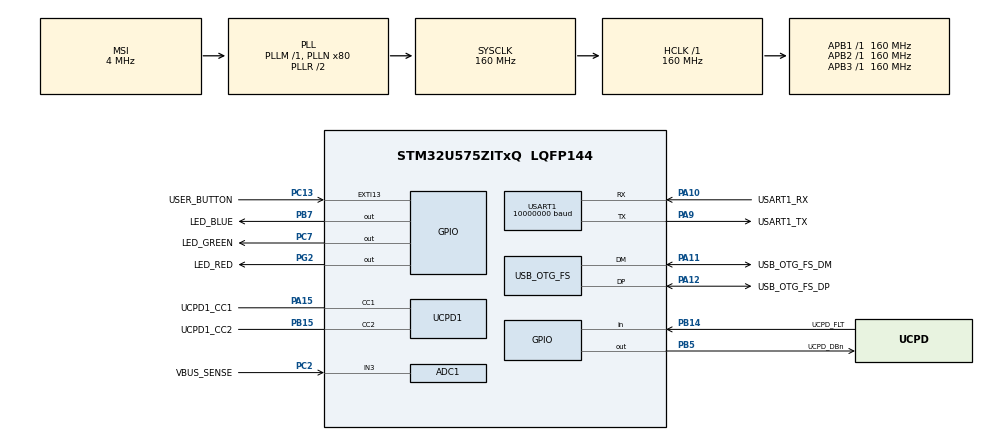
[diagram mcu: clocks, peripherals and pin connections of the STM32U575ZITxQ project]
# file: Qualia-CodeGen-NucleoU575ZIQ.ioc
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ADC1.NbrOfConversion=1
ADC1.Resolution=ADC_RESOLUTION_14B
ADC1.master=1
CORTEX_M33_NS.userName=CORTEX_M33
GPDMA1.DESTINC_GPDMACH12=DMA_DINC_INCREMENTED
GPDMA1.IPHANDLE_GPDMACH12-SIMPLEREQUEST_GPDMACH12=__NULL
GPDMA1.REQUEST_GPDMACH12=GPDMA1_REQUEST_USART1_RX
GPDMA1.SRCINC_GPDMACH12=DMA_SINC_FIXED
GPDMA1.TRIGGERPOLARITY_GPDMACH12=DMA_TRIG_POLARITY_MASKED
Mcu.Family=STM32U5
Mcu.Name=STM32U575ZITxQ
Mcu.Package=LQFP144
NVIC.GPDMA1_Channel12_IRQn=true\:0\:0\:false\:false\:true\:false\:true\:true
NVIC.OTG_FS_IRQn=true\:0\:0\:false\:false\:true\:true\:true\:true
NVIC.PriorityGroup=NVIC_PRIORITYGROUP_3
NVIC.USART1_IRQn=true\:0\:0\:false\:false\:true\:true\:true\:true
PA10.GPIO_Label=USART1_RX
PA10.GPIO_PuPd=GPIO_PULLDOWN
PA10.GPIO_Speed=GPIO_SPEED_FREQ_VERY_HIGH
PA10.Mode=Asynchronous
PA10.Signal=USART1_RX
PA11.GPIO_Label=USB_OTG_FS_DM
PA11.GPIO_Speed=GPIO_SPEED_FREQ_VERY_HIGH
PA11.Mode=Device_Only
PA11.Signal=USB_OTG_FS_DM
PA12.GPIO_Label=USB_OTG_FS_DP
PA12.GPIO_Speed=GPIO_SPEED_FREQ_VERY_HIGH
PA12.Mode=Device_Only
PA12.Signal=USB_OTG_FS_DP
PA13\ (JTMS/SWDIO).Mode=Trace_Asynchronous_SW
PA13\ (JTMS/SWDIO).Signal=DEBUG_JTMS-SWDIO
PA14\ (JTCK/SWCLK).Mode=Trace_Asynchronous_SW
PA14\ (JTCK/SWCLK).Signal=DEBUG_JTCK-SWCLK
PA15\ (JTDI).GPIO_Label=UCPD1_CC1
PA15\ (JTDI).Mode=Sink_AllSignals
PA15\ (JTDI).Signal=UCPD1_CC1
PA9.GPIO_Label=USART1_TX
PA9.GPIO_PuPd=GPIO_PULLDOWN
PA9.GPIO_Speed=GPIO_SPEED_FREQ_VERY_HIGH
PA9.Mode=Asynchronous
PA9.Signal=USART1_TX
PB14.GPIO_Label=UCPD_FLT
PB14.Signal=GPIO_Input
PB15.GPIO_Label=UCPD1_CC2
PB15.Mode=Sink_AllSignals
PB15.Signal=UCPD1_CC2
PB3\ (JTDO/TRACESWO).Mode=Trace_Asynchronous_SW
PB3\ (JTDO/TRACESWO).Signal=DEBUG_JTDO-SWO
PB5.GPIO_Label=UCPD_DBn
PB5.Signal=GPIO_Output
PB7.GPIO_Label=LED_BLUE
PB7.GPIO_ModeDefaultOutputPP=GPIO_MODE_OUTPUT_PP
PB7.GPIO_PuPd=GPIO_PULLUP
PB7.GPIO_Speed=GPIO_SPEED_FREQ_HIGH
PB7.Signal=GPIO_Output
PC13.GPIO_Label=USER_BUTTON
PC13.GPIO_ModeDefaultEXTI=GPIO_MODE_IT_FALLING
PC13.Signal=GPXTI13
PC14-OSC32_IN\ (PC14).Mode=LSE-External-Oscillator
PC14-OSC32_IN\ (PC14).Signal=RCC_OSC32_IN
PC15-OSC32_OUT\ (PC15).Mode=LSE-External-Oscillator
PC15-OSC32_OUT\ (PC15).Signal=RCC_OSC32_OUT
PC2.GPIO_Label=VBUS_SENSE
PC2.Mode=IN3-Single-Ended
PC2.Signal=ADC1_IN3
PC7.GPIO_Label=LED_GREEN
PC7.GPIO_PuPd=GPIO_PULLUP
PC7.GPIO_Speed=GPIO_SPEED_FREQ_HIGH
PC7.Signal=GPIO_Output
PG2.GPIO_Label=LED_RED
PG2.GPIO_ModeDefaultOutputPP=GPIO_MODE_OUTPUT_PP
PG2.GPIO_PuPd=GPIO_PULLUP
PG2.GPIO_Speed=GPIO_SPEED_FREQ_HIGH
PG2.Signal=GPIO_Output
PWR.PowerMode=PWR_SMPS_SUPPLY
ProjectManager.HeapSize=0x200
ProjectManager.StackSize=0x400
ProjectManager.TargetToolchain=STM32CubeIDE
RCC.ADCFreq_Value=16000000
RCC.AHBFreq_Value=160000000
RCC.APB1Freq_Value=160000000
RCC.APB1TimFreq_Value=160000000
RCC.APB2Freq_Value=160000000
RCC.APB2TimFreq_Value=160000000
RCC.APB3Freq_Value=160000000
RCC.CortexFreq_Value=160000000
RCC.DACCLockSelectionVirtual=RCC_DAC1CLKSOURCE_LSI
RCC.EPOD_VALUE=4000000
RCC.HCLKFreq_Value=160000000
RCC.HSE_VALUE=16000000
RCC.HSI48_VALUE=48000000
RCC.HSI_VALUE=16000000
RCC.LSIDIV_VALUE=32000
RCC.MSI_VALUE=4000000
RCC.PLLN=80
RCC.SYSCLKFreq_VALUE=160000000
RCC.SYSCLKSource=RCC_SYSCLKSOURCE_PLLCLK
RCC.USBFreq_Value=48000000
RCC.VCOOutputFreq_Value=320000000
USART1.BaudRate=10000000
USART1.VirtualMode-Asynchronous=VM_ASYNC
USB_OTG_FS.VirtualMode=Device_Only
VP_DCACHE1_VS_DCACHE.Mode=DCACHE_Activate
VP_GPDMA1_VS_GPDMACH12.Mode=SIMPLEREQUEST_GPDMACH12
VP_ICACHE_VS_ICACHE.Mode=DefaultMode
VP_LPBAMQUEUE_VS_QUEUE.Mode=QUEUEMODE
VP_LPBAM_VS_SIG1.Mode=SmartRun
VP_LPBAM_VS_SIG4.Mode=LPDMA1
VP_PWR_VS_DBSignals.Mode=DisableDeadBatterySignals
VP_PWR_VS_LPOM.Mode=PowerOptimisation
VP_PWR_VS_SECSignals.Mode=Security/Privilege
board=NUCLEO-U575ZI-Q

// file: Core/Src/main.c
/* USER CODE BEGIN Header */
// Copyright 2023 (c) Pierre-Emmanuel Novac <penovac@unice.fr> Université Côte d'Azur, CNRS, LEAT. All rights reserved.
// June 13, 2023

/**
  ******************************************************************************
  * @file           : main.c
  * @brief          : Main program body
  ******************************************************************************
  * @attention
  *
  * Copyright (c) 2023 STMicroelectronics.
  * All rights reserved.
  *
  * This software is licensed under terms that can be found in the LICENSE file
  * in the root directory of this software component.
  * If no LICENSE file comes with this software, it is provided AS-IS.
  *
  ******************************************************************************
  */
/* USER CODE END Header */
#include "main.h"

/* USER CODE BEGIN Includes */
#include "stdio.h"
#include "string.h"
#include "NeuralNetwork.h"
/* USER CODE END Includes */

ADC_HandleTypeDef hadc1;

DCACHE_HandleTypeDef hdcache1;

UART_HandleTypeDef huart1;
DMA_HandleTypeDef handle_GPDMA1_Channel12;

PCD_HandleTypeDef hpcd_USB_OTG_FS;

void SystemClock_Config(void);
static void SystemPower_Config(void);
static void MX_GPIO_Init(void);
static void MX_GPDMA1_Init(void);
static void MX_UCPD1_Init(void);
static void MX_USART1_UART_Init(void);
static void MX_ADC1_Init(void);
static void MX_ICACHE_Init(void);
static void MX_USB_OTG_FS_PCD_Init(void);
static void MX_DCACHE1_Init(void);

/* USER CODE BEGIN 0 */
#define MAX_READ_SIZE 16384 // Absolute max is 65535 due to HAL_UART_Receive_DMA size being uint16_t
//#define MAX_READ_SIZE 24576 // Absolute max is 65535 due to HAL_UART_Receive_DMA size being uint16_t
uint8_t receive_buff[MAX_READ_SIZE];                //Define the receive array
extern volatile uint16_t receive_buff_cnt;
/* USER CODE END 0 */

int main(void)
{
  /* USER CODE BEGIN 1 */
  char send_msg[32];

  strncpy(send_msg, "READY\r\n", 8);
  /* USER CODE END 1 */

  /* MCU Configuration--------------------------------------------------------*/

  /* Reset of all peripherals, Initializes the Flash interface and the Systick. */
  HAL_Init();

  /* Configure the system clock */
  SystemClock_Config();

  /* Configure the System Power */
  SystemPower_Config();

  /* Initialize all configured peripherals */
  MX_GPIO_Init();
  MX_GPDMA1_Init();
  MX_UCPD1_Init();
  MX_USART1_UART_Init();
  MX_ADC1_Init();
  MX_ICACHE_Init();
  MX_USB_OTG_FS_PCD_Init();
  MX_DCACHE1_Init();
  /* USER CODE BEGIN 2 */
  //Set up the DMA transmission to move the data of serial port 1 to recvive_buff, 255 bytes at a time
  HAL_UART_Receive_DMA(&huart1, (uint8_t*)receive_buff, MAX_READ_SIZE);
  HAL_UART_Transmit(&huart1, send_msg, 7, 0x200);
  /* USER CODE END 2 */

  /* Infinite loop */
  /* USER CODE BEGIN WHILE */
  while (1)
  {
	  //int len = snprintf(send_msg, 32, "%d, %d \r\n", receive_buff_cnt, receive_buff[receive_buff_cnt - 1]);
	  //HAL_UART_Transmit(&huart1, send_msg, len, 0x200);

	  if (receive_buff_cnt > 0 && receive_buff[receive_buff_cnt - 1] == '\n') {
		  int len2 = snprintf(send_msg, 32, "%d, %d, %d, %d\r\n", receive_buff[0],  receive_buff[1],  receive_buff[2], receive_buff[3]);

		  //HAL_UART_Transmit(&huart1, send_msg, len2, 0x200);
		  float *inputs = serialBufToFloats(receive_buff, receive_buff_cnt);
		  size_t len = snprintf(send_msg, 32, "%d\r\n", receive_buff_cnt);
		  receive_buff_cnt = 0;
		  HAL_UART_Receive_DMA(&huart1, (uint8_t*)receive_buff, MAX_READ_SIZE);

		  HAL_UART_Transmit(&huart1, send_msg, len, 0x200);

		  struct NNResult res = neuralNetworkInfer(inputs);

		  len = snprintf(send_msg, 32, "%d,%d,%f\r\n", res.inference_count, res.label, (double)res.dist);
		  HAL_UART_Transmit(&huart1, send_msg, len, 0x200);
	  }
    /* USER CODE END WHILE */

  }
}

void SystemClock_Config(void)
{
  RCC_OscInitTypeDef RCC_OscInitStruct = {0};
  RCC_ClkInitTypeDef RCC_ClkInitStruct = {0};

  /** Configure the main internal regulator output voltage
  */
  if (HAL_PWREx_ControlVoltageScaling(PWR_REGULATOR_VOLTAGE_SCALE1) != HAL_OK)
  {
    Error_Handler();
  }

  /** Initializes the CPU, AHB and APB buses clocks
  */
  RCC_OscInitStruct.OscillatorType = RCC_OSCILLATORTYPE_HSI48|RCC_OSCILLATORTYPE_HSI
                              |RCC_OSCILLATORTYPE_MSI;
  RCC_OscInitStruct.HSIState = RCC_HSI_ON;
  RCC_OscInitStruct.HSI48State = RCC_HSI48_ON;
  RCC_OscInitStruct.HSICalibrationValue = RCC_HSICALIBRATION_DEFAULT;
  RCC_OscInitStruct.MSIState = RCC_MSI_ON;
  RCC_OscInitStruct.MSICalibrationValue = RCC_MSICALIBRATION_DEFAULT;
  RCC_OscInitStruct.MSIClockRange = RCC_MSIRANGE_4;
  RCC_OscInitStruct.PLL.PLLState = RCC_PLL_ON;
  RCC_OscInitStruct.PLL.PLLSource = RCC_PLLSOURCE_MSI;
  RCC_OscInitStruct.PLL.PLLMBOOST = RCC_PLLMBOOST_DIV1;
  RCC_OscInitStruct.PLL.PLLM = 1;
  RCC_OscInitStruct.PLL.PLLN = 80;
  RCC_OscInitStruct.PLL.PLLP = 2;
  RCC_OscInitStruct.PLL.PLLQ = 2;
  RCC_OscInitStruct.PLL.PLLR = 2;
  RCC_OscInitStruct.PLL.PLLRGE = RCC_PLLVCIRANGE_0;
  RCC_OscInitStruct.PLL.PLLFRACN = 0;
  if (HAL_RCC_OscConfig(&RCC_OscInitStruct) != HAL_OK)
  {
    Error_Handler();
  }

  /** Initializes the CPU, AHB and APB buses clocks
  */
  RCC_ClkInitStruct.ClockType = RCC_CLOCKTYPE_HCLK|RCC_CLOCKTYPE_SYSCLK
                              |RCC_CLOCKTYPE_PCLK1|RCC_CLOCKTYPE_PCLK2
                              |RCC_CLOCKTYPE_PCLK3;
  RCC_ClkInitStruct.SYSCLKSource = RCC_SYSCLKSOURCE_PLLCLK;
  RCC_ClkInitStruct.AHBCLKDivider = RCC_SYSCLK_DIV1;
  RCC_ClkInitStruct.APB1CLKDivider = RCC_HCLK_DIV1;
  RCC_ClkInitStruct.APB2CLKDivider = RCC_HCLK_DIV1;
  RCC_ClkInitStruct.APB3CLKDivider = RCC_HCLK_DIV1;

  if (HAL_RCC_ClockConfig(&RCC_ClkInitStruct, FLASH_LATENCY_4) != HAL_OK)
  {
    Error_Handler();
  }
}

/**
  * @brief Power Configuration
  * @retval None
  */
static void SystemPower_Config(void)
{
  HAL_PWREx_EnableVddIO2();

  /*
   * Switch to SMPS regulator instead of LDO
   */
  if (HAL_PWREx_ConfigSupply(PWR_SMPS_SUPPLY) != HAL_OK)
  {
    Error_Handler();
  }
}

static void MX_ADC1_Init(void)
{

  /** Common config
  */
  hadc1.Instance = ADC1;
  hadc1.Init.ClockPrescaler = ADC_CLOCK_ASYNC_DIV1;
  hadc1.Init.Resolution = ADC_RESOLUTION_14B;
  hadc1.Init.GainCompensation = 0;
  hadc1.Init.ScanConvMode = ADC_SCAN_DISABLE;
  hadc1.Init.EOCSelection = ADC_EOC_SINGLE_CONV;
  hadc1.Init.LowPowerAutoWait = DISABLE;
  hadc1.Init.ContinuousConvMode = DISABLE;
  hadc1.Init.NbrOfConversion = 1;
  hadc1.Init.DiscontinuousConvMode = DISABLE;
  hadc1.Init.DMAContinuousRequests = DISABLE;
  hadc1.Init.TriggerFrequencyMode = ADC_TRIGGER_FREQ_HIGH;
  hadc1.Init.Overrun = ADC_OVR_DATA_PRESERVED;
  hadc1.Init.LeftBitShift = ADC_LEFTBITSHIFT_NONE;
  hadc1.Init.ConversionDataManagement = ADC_CONVERSIONDATA_DR;
  hadc1.Init.OversamplingMode = DISABLE;
  if (HAL_ADC_Init(&hadc1) != HAL_OK)
  {
    Error_Handler();
  }

}

static void MX_DCACHE1_Init(void)
{

  hdcache1.Instance = DCACHE1;
  hdcache1.Init.ReadBurstType = DCACHE_READ_BURST_WRAP;
  if (HAL_DCACHE_Init(&hdcache1) != HAL_OK)
  {
    Error_Handler();
  }

}

static void MX_GPDMA1_Init(void)
{

  /* Peripheral clock enable */
  __HAL_RCC_GPDMA1_CLK_ENABLE();

  /* GPDMA1 interrupt Init */
    HAL_NVIC_SetPriority(GPDMA1_Channel12_IRQn, 0, 0);
    HAL_NVIC_EnableIRQ(GPDMA1_Channel12_IRQn);

}

static void MX_ICACHE_Init(void)
{

  /** Enable instruction cache (default 2-ways set associative cache)
  */
  if (HAL_ICACHE_Enable() != HAL_OK)
  {
    Error_Handler();
  }

}

static void MX_UCPD1_Init(void)
{

  LL_GPIO_InitTypeDef GPIO_InitStruct = {0};

  /* Peripheral clock enable */
  LL_APB1_GRP2_EnableClock(LL_APB1_GRP2_PERIPH_UCPD1);

  LL_AHB2_GRP1_EnableClock(LL_AHB2_GRP1_PERIPH_GPIOB);
  LL_AHB2_GRP1_EnableClock(LL_AHB2_GRP1_PERIPH_GPIOA);
  /**UCPD1 GPIO Configuration
  PB15   ------> UCPD1_CC2
  PA15 (JTDI)   ------> UCPD1_CC1
  */
  GPIO_InitStruct.Pin = LL_GPIO_PIN_15;
  GPIO_InitStruct.Mode = LL_GPIO_MODE_ANALOG;
  GPIO_InitStruct.Pull = LL_GPIO_PULL_NO;
  LL_GPIO_Init(GPIOB, &GPIO_InitStruct);

  GPIO_InitStruct.Pin = LL_GPIO_PIN_15;
  GPIO_InitStruct.Mode = LL_GPIO_MODE_ANALOG;
  GPIO_InitStruct.Pull = LL_GPIO_PULL_NO;
  LL_GPIO_Init(GPIOA, &GPIO_InitStruct);

}

static void MX_USART1_UART_Init(void)
{

  huart1.Instance = USART1;
  huart1.Init.BaudRate = 10000000;
  huart1.Init.WordLength = UART_WORDLENGTH_8B;
  huart1.Init.StopBits = UART_STOPBITS_1;
  huart1.Init.Parity = UART_PARITY_NONE;
  huart1.Init.Mode = UART_MODE_TX_RX;
  huart1.Init.HwFlowCtl = UART_HWCONTROL_NONE;
  huart1.Init.OverSampling = UART_OVERSAMPLING_16;
  huart1.Init.OneBitSampling = UART_ONE_BIT_SAMPLE_DISABLE;
  huart1.Init.ClockPrescaler = UART_PRESCALER_DIV1;
  huart1.AdvancedInit.AdvFeatureInit = UART_ADVFEATURE_NO_INIT;
  if (HAL_UART_Init(&huart1) != HAL_OK)
  {
    Error_Handler();
  }
  if (HAL_UARTEx_SetTxFifoThreshold(&huart1, UART_TXFIFO_THRESHOLD_1_8) != HAL_OK)
  {
    Error_Handler();
  }
  if (HAL_UARTEx_SetRxFifoThreshold(&huart1, UART_RXFIFO_THRESHOLD_1_8) != HAL_OK)
  {
    Error_Handler();
  }
  if (HAL_UARTEx_DisableFifoMode(&huart1) != HAL_OK)
  {
    Error_Handler();
  }
  /* USER CODE BEGIN USART1_Init 2 */
  __HAL_UART_ENABLE_IT(&huart1, UART_IT_IDLE);  // Enable serial port idle interrupt
  /* USER CODE END USART1_Init 2 */

}

static void MX_USB_OTG_FS_PCD_Init(void)
{

  hpcd_USB_OTG_FS.Instance = USB_OTG_FS;
  hpcd_USB_OTG_FS.Init.dev_endpoints = 6;
  hpcd_USB_OTG_FS.Init.phy_itface = PCD_PHY_EMBEDDED;
  hpcd_USB_OTG_FS.Init.Sof_enable = DISABLE;
  hpcd_USB_OTG_FS.Init.low_power_enable = DISABLE;
  hpcd_USB_OTG_FS.Init.lpm_enable = DISABLE;
  hpcd_USB_OTG_FS.Init.battery_charging_enable = DISABLE;
  hpcd_USB_OTG_FS.Init.use_dedicated_ep1 = DISABLE;
  hpcd_USB_OTG_FS.Init.vbus_sensing_enable = DISABLE;
  if (HAL_PCD_Init(&hpcd_USB_OTG_FS) != HAL_OK)
  {
    Error_Handler();
  }

}

static void MX_GPIO_Init(void)
{
  GPIO_InitTypeDef GPIO_InitStruct = {0};

  /* GPIO Ports Clock Enable */
  __HAL_RCC_GPIOC_CLK_ENABLE();
  __HAL_RCC_GPIOB_CLK_ENABLE();
  __HAL_RCC_GPIOG_CLK_ENABLE();
  __HAL_RCC_GPIOA_CLK_ENABLE();

  /*Configure GPIO pin Output Level */
  HAL_GPIO_WritePin(LED_RED_GPIO_Port, LED_RED_Pin, GPIO_PIN_RESET);

  /*Configure GPIO pin Output Level */
  HAL_GPIO_WritePin(LED_GREEN_GPIO_Port, LED_GREEN_Pin, GPIO_PIN_RESET);

  /*Configure GPIO pin Output Level */
  HAL_GPIO_WritePin(GPIOB, UCPD_DBn_Pin|LED_BLUE_Pin, GPIO_PIN_RESET);

  /*Configure GPIO pin : USER_BUTTON_Pin */
  GPIO_InitStruct.Pin = USER_BUTTON_Pin;
  GPIO_InitStruct.Mode = GPIO_MODE_IT_FALLING;
  GPIO_InitStruct.Pull = GPIO_NOPULL;
  HAL_GPIO_Init(USER_BUTTON_GPIO_Port, &GPIO_InitStruct);

  /*Configure GPIO pin : UCPD_FLT_Pin */
  GPIO_InitStruct.Pin = UCPD_FLT_Pin;
  GPIO_InitStruct.Mode = GPIO_MODE_INPUT;
  GPIO_InitStruct.Pull = GPIO_NOPULL;
  HAL_GPIO_Init(UCPD_FLT_GPIO_Port, &GPIO_InitStruct);

  /*Configure GPIO pin : LED_RED_Pin */
  GPIO_InitStruct.Pin = LED_RED_Pin;
  GPIO_InitStruct.Mode = GPIO_MODE_OUTPUT_PP;
  GPIO_InitStruct.Pull = GPIO_PULLUP;
  GPIO_InitStruct.Speed = GPIO_SPEED_FREQ_HIGH;
  HAL_GPIO_Init(LED_RED_GPIO_Port, &GPIO_InitStruct);

  /*Configure GPIO pin : LED_GREEN_Pin */
  GPIO_InitStruct.Pin = LED_GREEN_Pin;
  GPIO_InitStruct.Mode = GPIO_MODE_OUTPUT_PP;
  GPIO_InitStruct.Pull = GPIO_PULLUP;
  GPIO_InitStruct.Speed = GPIO_SPEED_FREQ_HIGH;
  HAL_GPIO_Init(LED_GREEN_GPIO_Port, &GPIO_InitStruct);

  /*Configure GPIO pin : UCPD_DBn_Pin */
  GPIO_InitStruct.Pin = UCPD_DBn_Pin;
  GPIO_InitStruct.Mode = GPIO_MODE_OUTPUT_PP;
  GPIO_InitStruct.Pull = GPIO_NOPULL;
  GPIO_InitStruct.Speed = GPIO_SPEED_FREQ_LOW;
  HAL_GPIO_Init(UCPD_DBn_GPIO_Port, &GPIO_InitStruct);

  /*Configure GPIO pin : LED_BLUE_Pin */
  GPIO_InitStruct.Pin = LED_BLUE_Pin;
  GPIO_InitStruct.Mode = GPIO_MODE_OUTPUT_PP;
  GPIO_InitStruct.Pull = GPIO_PULLUP;
  GPIO_InitStruct.Speed = GPIO_SPEED_FREQ_HIGH;
  HAL_GPIO_Init(LED_BLUE_GPIO_Port, &GPIO_InitStruct);

}

void Error_Handler(void)
{
  __disable_irq();
  while (1)
  {
  }
}
